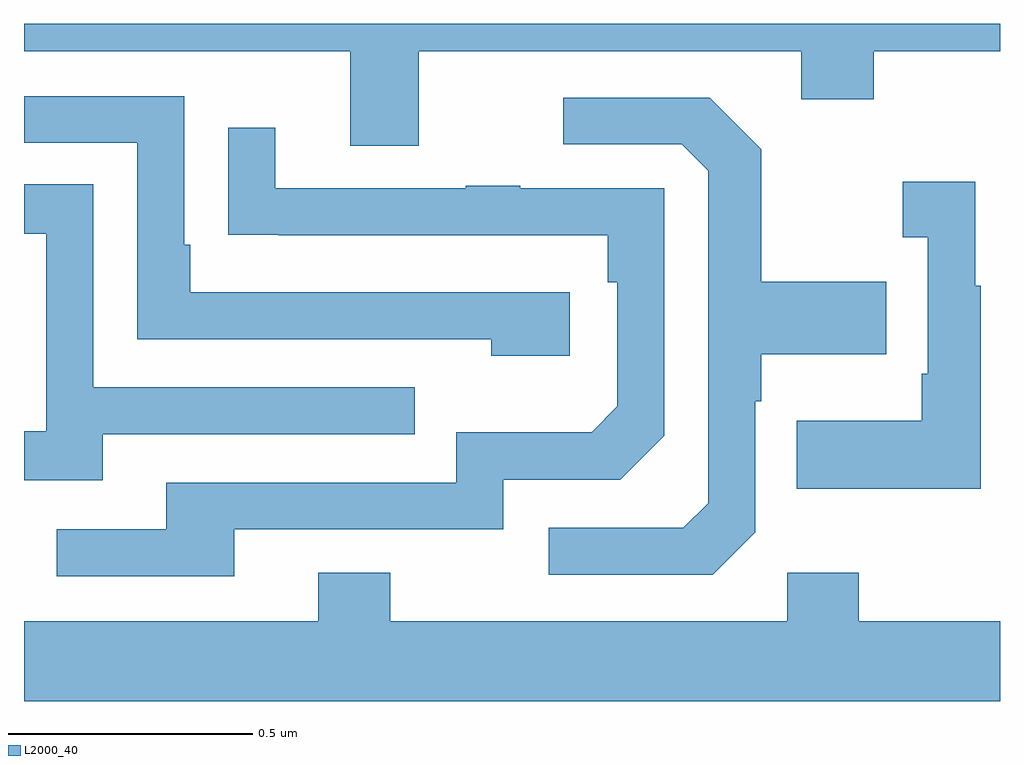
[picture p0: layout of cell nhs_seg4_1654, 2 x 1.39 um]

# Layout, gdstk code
import gdstk
lib = gdstk.Library(unit=1e-6, precision=1e-09)
def P(c, l, *ps):  # polygons
    for p in ps: c.add(gdstk.Polygon(p, *l))
L2000_40 = (2000, 40)

nhs_seg4_1654 = lib.new_cell('nhs_seg4_1654')
P(nhs_seg4_1654, L2000_40, [(131.809,772.844),(132.593,772.844),(132.593,772.745),(132.741,772.745),(132.741,772.844),(133,772.844),(133,772.9),(131,772.9),(131,772.844),(131.669,772.844),(131.669,772.65),(131.809,772.65)],
  [(132.118,772.35),(131.341,772.35),(131.341,772.447),(131.328,772.447),(131.328,772.752),(131,772.752),(131,772.656),(131.232,772.656),(131.232,772.254),(131.957,772.254),(131.957,772.22),(132.118,772.22)],
  [(132.498,771.858),(132.498,772.127),(132.511,772.127),(132.511,772.223),(132.767,772.223),(132.767,772.371),(132.511,772.371),(132.511,772.643),(132.405,772.749),(132.105,772.749),(132.105,772.653),(132.348,772.653),(132.402,772.599),(132.402,771.918),(132.351,771.867),(132.075,771.867),(132.075,771.771),(132.411,771.771)],
  [(131.431,771.864),(131.982,771.864),(131.982,771.966),(132.222,771.966),(132.312,772.056),(132.312,772.563),(132.017,772.563),(132.017,772.568),(131.905,772.568),(131.905,772.563),(131.515,772.563),(131.515,772.687),(131.419,772.687),(131.419,772.468),(131.521,772.468),(131.521,772.467),(132.196,772.467),(132.196,772.37),(132.216,772.37),(132.216,772.116),(132.163,772.063),(131.886,772.063),(131.886,771.96),(131.291,771.96),(131.291,771.864),(131.067,771.864),(131.067,771.768),(131.431,771.768)],
  [(132.961,772.363),(132.949,772.363),(132.949,772.576),(132.801,772.576),(132.801,772.463),(132.852,772.463),(132.852,772.183),(132.84,772.183),(132.84,772.087),(132.583,772.087),(132.583,771.947),(132.961,771.947)],
  [(131.161,772.059),(131.801,772.059),(131.801,772.155),(131.142,772.155),(131.142,772.571),(131,772.571),(131,772.47),(131.046,772.47),(131.046,772.065),(131,772.065),(131,771.965),(131.161,771.965)],
  [(133,771.676),(132.711,771.676),(132.711,771.775),(132.564,771.775),(132.564,771.676),(131.751,771.676),(131.751,771.775),(131.603,771.775),(131.603,771.676),(131,771.676),(131,771.512),(133,771.512)])

lib.write_gds('nhs_seg4_1654.gds')
